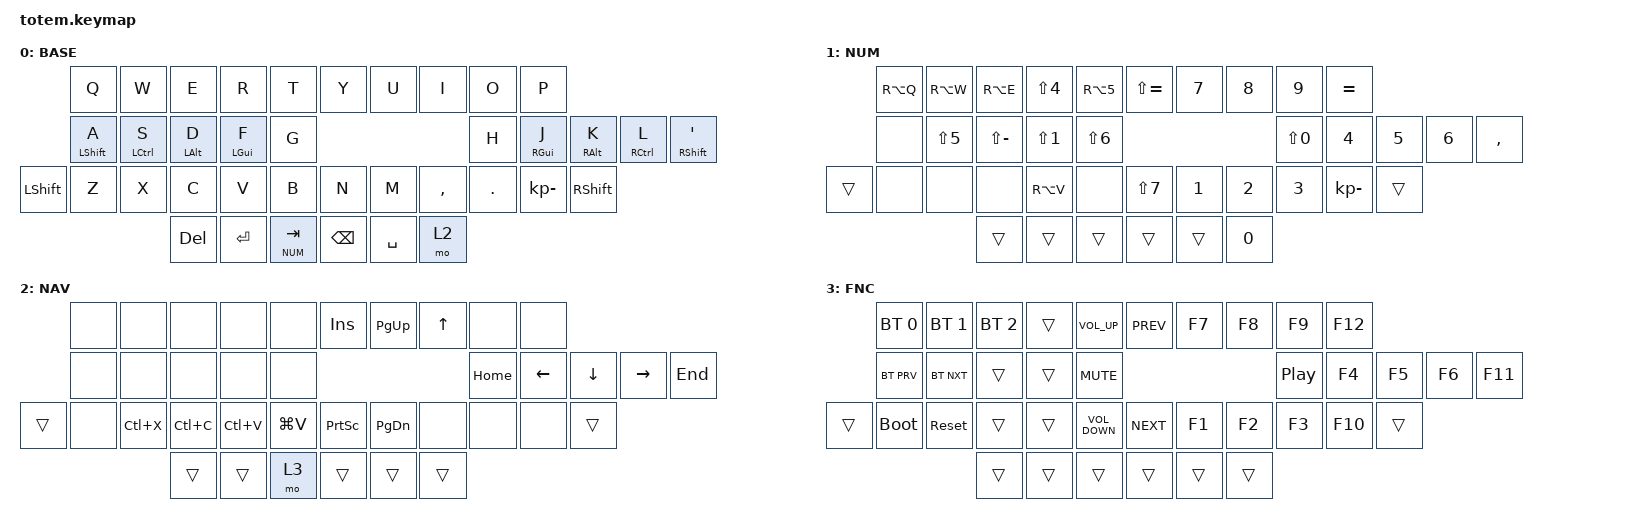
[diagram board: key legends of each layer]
//
//                                                        ▀▀▀▀▀     ▀▀▀▀▀          ▀▀█▀▀
//                                                        ▄▀▀▀▄  ▄  ▄▀▀▀▄  ▄  ▄▀▀▀▄  █  ▄▀▀▀▄
//                                                        █   █  █  █   █  █  █   █  █  █   █
//                                                         ▀▀▀   █   ▀▀▀   █   ▀▀▀   ▀   ▀▀▀
//                                                               █      ▄▄▄█▄▄▄    █   █  
//                                                               ▀      █  █  █     █▄█
//                                                             ▀▀▀▀▀    █  █  █      ▀
//                                                                      ▀  ▀  ▀
// zmk-config-totem_GEIGEIGEIST
// Ante, nekad prije 01.09.2026.
// ▄▄▄▄▄▄▄▄▄▄▄▄▄▄▄▄▄▄▄▄▄▄▄▄▄▄▄▄▄▄▄▄▄▄▄▄▄▄▄▄▄▄▄▄▄▄▄▄▄▄▄▄▄▄▄▄▄▄▄▄▄▄▄▄▄▄▄▄▄▄▄▄▄▄▄▄▄▄▄▄▄▄▄▄▄▄▄▄▄▄▄▄▄▄▄▄▄▄▄▄▄▄▄▄▄▄▄▄▄▄▄▄▄▄▄▄▄▄▄▄▄▄▄▄▄▄▄▄▄▄▄▄▄▄▄▄▄▄▄▄▄▄▄▄▄▄▄▄▄

#include <behaviors.dtsi>
#include <dt-bindings/zmk/bt.h>
#include <dt-bindings/zmk/keys.h>

#define BASE 0
#define NUM  1
#define NAV  2
#define FNC  3

&mt {
    quick-tap-ms = <100>;
    global-quick-tap;
    flavor = "tap-preferred";
    tapping-term-ms = <170>;
};

/ {
    combos {
        compatible = "zmk,combos";

        combo_esc {
            timeout-ms = <50>;
            key-positions = <0 1>;
            bindings = <&kp ESC>;
        };

        combo_caps_word_l {
            timeout-ms = <50>;
            key-positions = <21 22>;
            bindings = <&caps_word>;
            layers = <0>;
        };

        combo_caps_word_r {
            timeout-ms = <50>;
            key-positions = <29 30>;
            bindings = <&caps_word>;
            layers = <0>;
        };

        combo_cro_sh {
            timeout-ms = <50>;
            key-positions = <11 12>;
            bindings = <&kp LBKT>;
            layers = <0>;
        };

        combo_cro_dj {
            timeout-ms = <50>;
            key-positions = <12 13>;
            bindings = <&kp RBKT>;
            layers = <0>;
        };

        combo_cro_zh {
            timeout-ms = <50>;
            key-positions = <5 6>;
            bindings = <&kp BSLH>;
            layers = <0>;
        };

        combo_cro_ch {
            timeout-ms = <50>;
            key-positions = <18 19>;
            bindings = <&kp SEMI>;
            layers = <0>;
        };

        // combo_ctrl_alt pa se onda pozvat na nju ctrl_alt(K)
        // BRACKETS "[" & "]"

        combo_lbkt {
            timeout-ms = <50>;
            key-positions = <6 7>;
            bindings = <&kp RA(F)>;
            layers = <0>;
        };

        combo_rbkt {
            timeout-ms = <50>;
            key-positions = <7 8>;
            bindings = <&kp RA(G)>;
            layers = <0>;
        };

        // PARENTESIS "(" & ")"

        combo_lpar {
            timeout-ms = <50>;
            key-positions = <16 17>;
            bindings = <&kp LS(N8)>;
            layers = <0>;
        };

        combo_rpar {
            timeout-ms = <50>;
            key-positions = <17 18>;
            bindings = <&kp LS(N9)>;
            layers = <0>;
        };

        // BRACES "{" & "}"

        combo_lbrc {
            timeout-ms = <200>;
            key-positions = <6 7 21 22>;
            bindings = <&kp RA(B)>;
            layers = <0>;
        };

        combo_rbrc {
            timeout-ms = <200>;
            key-positions = <7 8 21 22>;
            bindings = <&kp RA(N)>;
            layers = <0>;
        };

        // QUOTE, DOUBLE "

        combo_dquote {
            timeout-ms = <200>;
            key-positions = <16 17 21 22>;
            bindings = <&kp RS(N2)>;
            layers = <0>;
        };

        // QUOTE, SINGLE '

        combo_squote {
            timeout-ms = <200>;
            key-positions = <17 18 21 22>;
            bindings = <&kp LS(MINUS)>;
            layers = <0>;
        };

        combo_num_12 {
            bindings = <&kp RA(N1)>;
            key-positions = <1 2>;
            timeout-ms = <50>;
            layers = <1>;
        };

        combo_num_23 {
            bindings = <&kp RA(N3)>;
            key-positions = <2 3>;
            timeout-ms = <50>;
            layers = <1>;
        };

        combo_num_34 {
            bindings = <&kp LS(N3)>;
            key-positions = <3 4>;
            timeout-ms = <50>;
            layers = <1>;
        };

        combo_num_56 {
            bindings = <&kp RA(RIGHT_BRACKET)>;
            key-positions = <5 6>;
            timeout-ms = <50>;
            layers = <1>;
        };

        combo_num_67 {
            bindings = <&kp LS(N8)>;
            key-positions = <6 7>;
            timeout-ms = <50>;
            layers = <1>;
        };

        combo_num_78 {
            bindings = <&kp LS(N9)>;
            key-positions = <7 8>;
            timeout-ms = <50>;
            layers = <1>;
        };

        combo_num_1617 {
            bindings = <&kp BACKSLASH>;
            key-positions = <16 17>;
            timeout-ms = <50>;
            layers = <1>;
        };

        combo_num_1718 {
            bindings = <&kp LS(BACKSLASH)>;
            key-positions = <17 18>;
            timeout-ms = <50>;
            layers = <1>;
        };

        combo_num_2627 {
            bindings = <&kp RA(LEFT_BRACKET)>;
            key-positions = <26 27>;
            timeout-ms = <50>;
            layers = <1>;
        };
    };

    keymap {
        compatible = "zmk,keymap";

        // ▄▄▄▄▄▄▄▄▄▄▄▄▄▄▄▄▄▄▄▄▄▄▄▄▄▄▄▄▄▄▄▄▄▄▄▄▄▄▄▄▄▄▄▄▄▄▄▄▄▄▄▄▄▄▄▄▄▄▄▄▄▄▄▄▄▄▄▄▄▄▄▄▄▄▄▄▄▄▄▄▄▄▄▄▄▄▄▄▄▄▄▄▄▄▄▄▄▄▄▄▄▄▄▄▄▄▄▄▄▄▄▄▄▄▄▄▄▄▄▄▄▄▄▄▄▄▄▄▄▄▄▄▄▄▄▄▄▄▄▄▄▄▄▄▄▄▄▄▄

        base_layer {
            // ┏━━━━━━━━━━━━━━━━━━━━━━━━━━━━━━━━━━━━━━━┓

            label = "BASE";

            // ┗━━━━━━━━━━━━━━━━━━━━━━━━━━━━━━━━━━━━━━━┛
            //             ┏━━━━━━━━━━━┳━━━━━━━━━━━┳━━━━━━━━━━━┳━━━━━━━━━━━┳━━━━━━━━━━━┓   ┏━━━━━━━━━━━┳━━━━━━━━━━━┳━━━━━━━━━━━┳━━━━━━━━━━━┳━━━━━━━━━━━┓
            //             ┃     Q   [ESC]   W     ┃     E     ┃     R     ┃     T     ┃   ┃     Z    [Ž]    U   ["["]   I   ["]"]   O     ┃     P     ┃
            //             ┣━━━━━━━━━━━╋━━━━━━━━━━━╋━━━━━━━━━━━╋━━━━━━━━━━━╋━━━━━━━━━━━┫   ┣━━━━━━━━━━━╋━━━━━━━━━━━╋━━━━━━━━━━━╋━━━━━━━━━━━╋━━━━━━━━━━━┫
            //             ┃     A   [TAB]   S    [Š]    D    [Đ]    F     ┃     G     ┃   ┃     H     ┃     J   ["("]   K   [")"]   L    [Č]    Ć     ┃
            // ┏━━━━━━━━━━━╋━━━━━━━━━━━╋━━━━━━━━━━━╋━━━━━━━━━━━╋━━━━━━━━━━━╋━━━━━━━━━━━┫   ┣━━━━━━━━━━━╋━━━━━━━━━━━╋━━━━━━━━━━━╋━━━━━━━━━━━╋━━━━━━━━━━━╋━━━━━━━━━━━┓
            // ┃     -     ┃     Y   [SHF]   X   [CTL]   C   [WIN]   V   [ALT]   B     ┃   ┃     N   [ALT]   M   [WIN]   ,   [CTL]   .   [SHF]   -     ┃     -     ┃
            // ┗━━━━━━━━━━━┻━━━━━━━━━━━┻━━━━━━━━━━━╋━━━━━━━━━━━╋━━━━━━━━━━━╋━━━━━━━━━━━┫   ┣━━━━━━━━━━━╋━━━━━━━━━━━╋━━━━━━━━━━━╋━━━━━━━━━━━┻━━━━━━━━━━━┻━━━━━━━━━━━┛
            //                                     ┃    DEL    ┃   ENTER   ┃   NUM_LY  ┃   ┃ BACKSPACE ┃   SPACE   ┃  NAV_LY   ┃
            //                                     ┗━━━━━━━━━━━┻━━━━━━━━━━━┻━━━━━━━━━━━┛   ┗━━━━━━━━━━━┻━━━━━━━━━━━┻━━━━━━━━━━━┛

            bindings = <
           &kp Q  &kp W  &kp E    &kp R    &kp T            &kp Y     &kp U      &kp I      &kp O    &kp P
           &mt LSHFT A  &mt LCTRL S  &mt LALT D    &mt LGUI F    &kp G            &kp H     &mt RGUI J      &mt RALT K      &mt RCTRL L    &mt RSHFT SQT
&kp LSHFT  &kp Z  &kp X  &kp C    &kp V    &kp B            &kp N     &kp M      &kp COMMA  &kp DOT  &kp KP_MINUS  &kp RSHFT
                         &kp DEL  &kp RET  &lt NUM TAB      &kp BSPC  &kp SPACE  &mo 2
            >;

            //                                    &kp DEL &lt NAV TAB  &kp SPACE    &kp RET  &lt SYM ESC  &kp BSPC            
        };

        num_layer {
            // ┏━━━━━━━━━━━━━━━━━━━━━━━━━━━━━━━━━━━━━━━┓

            label = "NUM";

            // ┗━━━━━━━━━━━━━━━━━━━━━━━━━━━━━━━━━━━━━━━┛
            //             ┏━━━━━━━━━━━┳━━━━━━━━━━━┳━━━━━━━━━━━┳━━━━━━━━━━━┳━━━━━━━━━━━┓   ┏━━━━━━━━━━━┳━━━━━━━━━━━┳━━━━━━━━━━━┳━━━━━━━━━━━┳━━━━━━━━━━━┓
            //             ┃           ┃           ┃     UP    ┃           ┃     {     ┃   ┃     }     ┃     7     ┃     8     ┃     9     ┃     +     ┃
            //             ┣━━━━━━━━━━━╋━━━━━━━━━━━╋━━━━━━━━━━━╋━━━━━━━━━━━╋━━━━━━━━━━━┫   ┣━━━━━━━━━━━╋━━━━━━━━━━━╋━━━━━━━━━━━╋━━━━━━━━━━━╋━━━━━━━━━━━┫
            //             ┃   SHIFT   ┃   LEFT    ┃    DOWN   ┃   RIGHT   ┃     [     ┃   ┃     ]     ┃     4     ┃     5     ┃     6     ┃     -     ┃
            // ┏━━━━━━━━━━━╋━━━━━━━━━━━╋━━━━━━━━━━━╋━━━━━━━━━━━╋━━━━━━━━━━━╋━━━━━━━━━━━┫   ┣━━━━━━━━━━━╋━━━━━━━━━━━╋━━━━━━━━━━━╋━━━━━━━━━━━╋━━━━━━━━━━━╋━━━━━━━━━━━┓
            // ┃           ┃           ┃   P UP    ┃  C LOCK   ┃  P DOWN   ┃     (     ┃   ┃     )     ┃     1     ┃     2     ┃     3     ┃     *     ┃           ┃
            // ┗━━━━━━━━━━━┻━━━━━━━━━━━┻━━━━━━━━━━━╋━━━━━━━━━━━╋━━━━━━━━━━━╋━━━━━━━━━━━┫   ┣━━━━━━━━━━━╋━━━━━━━━━━━╋━━━━━━━━━━━╋━━━━━━━━━━━┻━━━━━━━━━━━┻━━━━━━━━━━━┛
            //                                     ┃           ┃    TAB    ┃    SPC    ┃   ┃    DEL    ┃     0     ┃           ┃
            //                                     ┗━━━━━━━━━━━┻━━━━━━━━━━━┻━━━━━━━━━━━┛   ┗━━━━━━━━━━━┻━━━━━━━━━━━┻━━━━━━━━━━━┛

            bindings = <
        &kp RA(Q)  &kp RA(W)   &kp RA(E)      &kp LS(N4)  &kp RA(N5)    &kp LS(EQUAL)  &kp N7  &kp N8  &kp N9  &kp EQUAL
        &none      &kp LS(N5)  &kp LS(MINUS)  &kp LS(N1)  &kp LS(N6)    &kp LS(N0)     &kp N4  &kp N5  &kp N6  &kp COMMA
&trans  &none      &none       &none          &kp RA(V)   &none         &kp LS(N7)     &kp N1  &kp N2  &kp N3  &kp KP_MINUS  &trans
                               &trans         &trans      &trans        &trans         &trans  &kp N0
            >;
        };

        nav_layer {
            label = "NAV";
            bindings = <
        &none  &none      &none      &none      &none        &kp INSERT       &kp PG_UP  &kp UP_ARROW    &none      &none
        &none  &none      &none      &none      &none        &kp HOME         &kp LEFT   &kp DOWN_ARROW  &kp RIGHT  &kp END
&trans  &none  &kp LC(X)  &kp LC(C)  &kp LC(V)  &kp LG(V)    &kp PRINTSCREEN  &kp PG_DN  &none           &none      &none    &trans
                          &trans     &trans     &mo 3        &trans           &trans     &trans
            >;
        };

        function_layer {
            // ┏━━━━━━━━━━━━━━━━━━━━━━━━━━━━━━━━━━━━━━━┓

            label = "FNC";

            // ┗━━━━━━━━━━━━━━━━━━━━━━━━━━━━━━━━━━━━━━━┛
            //             ┏━━━━━━━━━━━┳━━━━━━━━━━━┳━━━━━━━━━━━┳━━━━━━━━━━━┳━━━━━━━━━━━┓   ┏━━━━━━━━━━━┳━━━━━━━━━━━┳━━━━━━━━━━━┳━━━━━━━━━━━┳━━━━━━━━━━━┓
            //             ┃   RESET   ┃ BT CLEAR  ┃  OUT TOG  ┃           ┃           ┃   ┃           ┃    F7     ┃    F8     ┃    F9     ┃    F12    ┃
            //             ┣━━━━━━━━━━━╋━━━━━━━━━━━╋━━━━━━━━━━━╋━━━━━━━━━━━╋━━━━━━━━━━━┫   ┣━━━━━━━━━━━╋━━━━━━━━━━━╋━━━━━━━━━━━╋━━━━━━━━━━━╋━━━━━━━━━━━┫
            //             ┃ BOOTLOAD  ┃ BT NEXT   ┃           ┃           ┃           ┃   ┃           ┃    F4     ┃    F5     ┃    F6     ┃    F11    ┃
            // ┏━━━━━━━━━━━╋━━━━━━━━━━━╋━━━━━━━━━━━╋━━━━━━━━━━━╋━━━━━━━━━━━╋━━━━━━━━━━━┫   ┣━━━━━━━━━━━╋━━━━━━━━━━━╋━━━━━━━━━━━╋━━━━━━━━━━━╋━━━━━━━━━━━╋━━━━━━━━━━━┓
            // ┃           ┃           ┃ BT PREV   ┃           ┃           ┃           ┃   ┃           ┃    F1     ┃    F2     ┃    F3     ┃    F10    ┃           ┃
            // ┗━━━━━━━━━━━┻━━━━━━━━━━━┻━━━━━━━━━━━╋━━━━━━━━━━━╋━━━━━━━━━━━╋━━━━━━━━━━━┫   ┣━━━━━━━━━━━╋━━━━━━━━━━━╋━━━━━━━━━━━╋━━━━━━━━━━━┻━━━━━━━━━━━┻━━━━━━━━━━━┛
            //                                     ┃           ┃           ┃           ┃   ┃           ┃           ┃           ┃
            //                                     ┗━━━━━━━━━━━┻━━━━━━━━━━━┻━━━━━━━━━━━┛   ┗━━━━━━━━━━━┻━━━━━━━━━━━┻━━━━━━━━━━━┛

            bindings = <
        &bt BT_SEL 0  &bt BT_SEL 1  &bt BT_SEL 2  &trans  &kp C_VOLUME_UP      &kp C_PREV        &kp F7  &kp F8  &kp F9  &kp F12
        &bt BT_PRV    &bt BT_NXT    &trans        &trans  &kp C_MUTE           &kp C_PLAY_PAUSE  &kp F4  &kp F5  &kp F6  &kp F11
&trans  &bootloader   &sys_reset    &trans        &trans  &kp C_VOLUME_DOWN    &kp C_NEXT        &kp F1  &kp F2  &kp F3  &kp F10  &trans
                                    &trans        &trans  &trans               &trans            &trans  &trans
            >;
        };
    };
};
